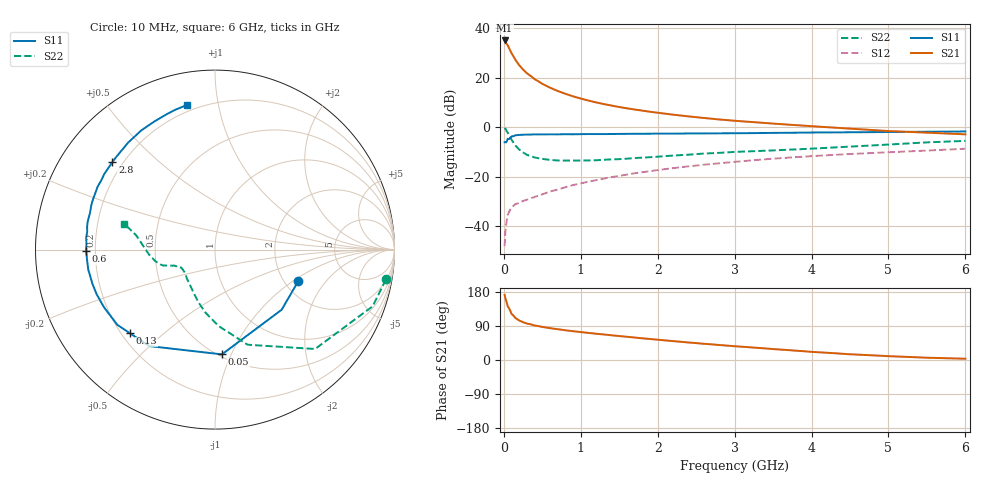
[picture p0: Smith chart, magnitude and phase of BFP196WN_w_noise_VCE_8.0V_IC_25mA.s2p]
! Infineon Technologies  Discrete & RF Semiconductors
! BFP196WN
! VCE =  8.0 V,  IC =  25 mA
! Common Emitter S-Parameters:  Jan 2017
# GHz  S  MA  R  50
!  f  S11  S21  S12  S22
! GHz  MAG  ANG  MAG  ANG  MAG  ANG  MAG  ANG
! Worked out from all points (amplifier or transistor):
!   77 points, 10 MHz to 6 GHz, reference 50 ohm
!   highest |S21| = 35.1 dB at 10 MHz (marker M1)
!   |S21| within 3 dB of that: start of sweep to 66.9 MHz
!   unconditionally stable (mu >= 1): 858.7 MHz to 2.675 GHz
!   at 130 MHz: K = 0.35, MSG = 30.0 dB, |S12| = -31.7 dB
!   at 2.2 GHz: K = 1.03, MAG = 9.8 dB, |S12| = -16.6 dB
!   at 6 GHz: K = 0.88, MSG = 2.9 dB, |S12| = -8.7 dB
!   lowest NFmin = 1.00 dB at 450 MHz
!   S11 on the Smith chart (normalised r, x): 10 MHz: 2.37, -1.10; 50 MHz: 0.52, -0.92; 130 MHz: 0.23, -0.39; 600 MHz: 0.16, -0.00; 2.8 GHz: 0.16, +0.36; 6 GHz: 0.16, +0.81
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0.01  0.496 -20.7  57.12 171.8  0.0039 86.1  0.9671 -9.9
0.02  0.5002 -42.0  53.87 162.7  0.0077 78.1  0.9334 -19.8
0.05  0.5851 -86.2  45.78 141.9  0.0168 58.4  0.7859 -44.8
0.1  0.6507 -124.3  31.46 121.5  0.0238 48.0  0.56 -71.1
0.13  0.6645 -135.4  26.38 115.9  0.0261 44.6  0.475 -79.7
0.15  0.687 -142.4  23.18 110.9  0.0277 42.7  0.4263 -87.3
0.2  0.697 -152.6  17.99 104.2  0.0293 43.4  0.3533 -99.0
0.25  0.7048 -159.3  14.67 99.7  0.0322 43.3  0.3086 -107.2
0.3  0.709 -164.4  12.39 96.3  0.034 45.6  0.2762 -114.3
0.4  0.715 -171.2  9.414 91.1  0.0387 49.2  0.2439 -124.3
0.5  0.7153 -175.9  7.559 87.3  0.0437 52.2  0.2283 -132.1
0.6  0.7179 -179.5  6.325 84.0  0.0499 54.9  0.2181 -137.8
0.7  0.7171 177.6  5.42 81.3  0.0546 57.7  0.2121 -141.7
0.8  0.7208 174.6  4.75 78.4  0.0609 59.8  0.2109 -144.5
1.1  0.7263 167.8  3.465 71.5  0.0786 62.2  0.2123 -151.1
1.5  0.7317 160.5  2.562 63.2  0.1036 63.2  0.2256 -155.8
2.1  0.7416 150.4  1.877 51.7  0.1419 62.1  0.2599 -159.9
2.8  0.7518 139.5  1.435 39.6  0.186 58.7  0.3023 -162.9
3.1  0.7565 135.0  1.316 35.0  0.205 56.4  0.3204 -165.9
4.1  0.7821 120.3  1.025 20.3  0.2647 49.1  0.3751 -177.4
5.1  0.8019 109.1  0.824 9.3  0.3157 41.7  0.4549 169.0
6  0.8203 101.0  0.717 3.3  0.3669 35.5  0.5283 164.3
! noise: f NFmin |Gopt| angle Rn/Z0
0.45  1  0.43  174  0.05
0.9  1.15  0.51  182  0.05
1.9  2.08  0.68  210  0.13
2.4  2.83  0.69  217  0.23
